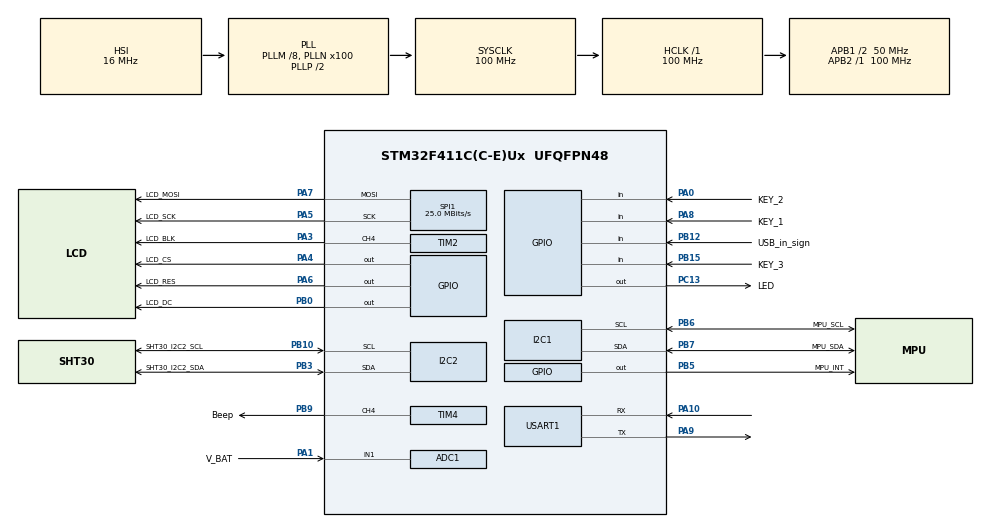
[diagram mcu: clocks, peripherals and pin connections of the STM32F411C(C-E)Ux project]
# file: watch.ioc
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Mcu.Family=STM32F4
RCC.CortexFreq_Value=100000000
SPI1.VirtualType=VM_MASTER
Dma.USART1_TX.1.MemInc=DMA_MINC_ENABLE
PB10.Mode=I2C
VP_RTC_VS_RTC_Activate.Mode=RTC_Enabled
PA6.GPIO_Label=LCD_RES
PB0.GPIO_Label=LCD_DC
PB6.GPIO_Label=MPU_SCL
PB15.Signal=GPIO_Input
RCC.SYSCLKSource=RCC_SYSCLKSOURCE_PLLCLK
ProjectManager.StackSize=0x400
RTC.StoreOperation=RTC_STOREOPERATION_SET
SPI1.CLKPolarity=SPI_POLARITY_HIGH
PH0\ -\ OSC_IN.Signal=RCC_OSC_IN
RCC.RCC_RTC_Clock_Source=RCC_RTCCLKSOURCE_LSE
SPI1.Direction=SPI_DIRECTION_2LINES
RCC.HCLKFreq_Value=100000000
RCC.APB2TimFreq_Value=100000000
PB6.Signal=I2C1_SCL
PB6.Mode=I2C
SPI1.CalculateBaudRate=25.0 MBits/s
RCC.AHBFreq_Value=100000000
Dma.USART1_RX.0.Priority=DMA_PRIORITY_LOW
ADC1.Channel-0\#ChannelRegularConversion=ADC_CHANNEL_1
RCC.HSE_VALUE=25000000
PB3.Mode=I2C
PC13-ANTI_TAMP.Signal=GPIO_Output
PB12.GPIO_Label=USB_in_sign
PC14-OSC32_IN.Mode=LSE-External-Oscillator
PA14.Mode=Serial_Wire
PA5.GPIO_PuPd=GPIO_PULLUP
PB7.Signal=I2C1_SDA
PA8.Signal=GPIO_Input
TIM4.Period=500-1
Dma.USART1_RX.0.MemInc=DMA_MINC_ENABLE
ADC1.SamplingTime-0\#ChannelRegularConversion=ADC_SAMPLETIME_3CYCLES
Dma.USART1_TX.1.PeriphDataAlignment=DMA_PDATAALIGN_BYTE
PB7.GPIO_Label=MPU_SDA
Mcu.Package=UFQFPN48
PB9.Signal=S_TIM4_CH4
TIM2.Prescaler=100-1
PA6.Signal=GPIO_Output
NVIC.DMA2_Stream7_IRQn=true\:0\:0\:false\:false\:true\:false\:true
PB15.GPIO_PuPd=GPIO_PULLUP
RTC.DayLightSaving=RTC_DAYLIGHTSAVING_SUB1H
PA10.Signal=USART1_RX
VP_RTC_VS_RTC_Calendar.Mode=RTC_Calendar
Dma.USART1_RX.0.FIFOMode=DMA_FIFOMODE_DISABLE
SH.ADCx_IN1.0=ADC1_IN1,IN1
PB5.GPIO_Label=MPU_INT
NVIC.DMA2_Stream2_IRQn=true\:0\:0\:false\:false\:true\:false\:true
Dma.Request1=USART1_TX
RCC.APB1TimFreq_Value=100000000
Dma.USART1_RX.0.Mode=DMA_NORMAL
Dma.USART1_TX.1.Priority=DMA_PRIORITY_LOW
NVIC.USART1_IRQn=true\:0\:0\:false\:false\:true\:true\:true
TIM4.Channel-PWM\ Generation4\ CH4=TIM_CHANNEL_4
Dma.Request0=USART1_RX
SPI1.BaudRatePrescaler=SPI_BAUDRATEPRESCALER_4
PA4.GPIO_Label=LCD_CS
Dma.USART1_RX.0.Instance=DMA2_Stream2
PA3.Signal=S_TIM2_CH4
PA5.Mode=TX_Only_Simplex_Unidirect_Master
Dma.USART1_TX.1.Direction=DMA_MEMORY_TO_PERIPH
PB3.GPIO_Label=SHT30_I2C2_SDA
PC15-OSC32_OUT.Mode=LSE-External-Oscillator
Dma.USART1_TX.1.Instance=DMA2_Stream7
TIM2.Channel-PWM\ Generation4\ CH4=TIM_CHANNEL_4
ADC1.Rank-0\#ChannelRegularConversion=1
PA7.Mode=TX_Only_Simplex_Unidirect_Master
Dma.USART1_RX.0.PeriphDataAlignment=DMA_PDATAALIGN_BYTE
PB9.GPIO_Label=Beep
PA10.Mode=Asynchronous
PC13-ANTI_TAMP.GPIO_Label=LED
SH.S_TIM4_CH4.0=TIM4_CH4,PWM Generation4 CH4
PH1\ -\ OSC_OUT.Mode=HSE-External-Oscillator
SPI1.CLKPhase=SPI_PHASE_2EDGE
RCC.APB1CLKDivider=RCC_HCLK_DIV2
PC14-OSC32_IN.Signal=RCC_OSC32_IN
PA0-WKUP.GPIO_Label=KEY_2
PA0-WKUP.Signal=GPIO_Input
PA13.Signal=SYS_JTMS-SWDIO
PA9.Mode=Asynchronous
PH0\ -\ OSC_IN.Mode=HSE-External-Oscillator
PA8.GPIO_Label=KEY_1
ProjectManager.TargetToolchain=MDK-ARM V5
PB10.GPIO_Label=SHT30_I2C2_SCL
RTC.Year=20
I2C1.I2C_Mode=I2C_Fast
Dma.USART1_RX.0.Direction=DMA_PERIPH_TO_MEMORY
PA9.Signal=USART1_TX
RTC.Format=RTC_FORMAT_BIN
Dma.USART1_TX.1.FIFOMode=DMA_FIFOMODE_DISABLE
TIM4.Prescaler=100-1
PC15-OSC32_OUT.Signal=RCC_OSC32_OUT
PA1.Signal=ADCx_IN1
PA7.GPIO_PuPd=GPIO_PULLUP
Dma.USART1_RX.0.PeriphInc=DMA_PINC_DISABLE
PB10.Signal=I2C2_SCL
PA5.Signal=SPI1_SCK
PH1\ -\ OSC_OUT.Signal=RCC_OSC_OUT
Dma.USART1_TX.1.MemDataAlignment=DMA_MDATAALIGN_BYTE
board=custom
RCC.VCOOutputFreq_Value=200000000
RCC.APB2Freq_Value=100000000
PB15.GPIO_Label=KEY_3
SPI1.Mode=SPI_MODE_MASTER
PA1.GPIO_Label=V_BAT
Dma.USART1_RX.0.MemDataAlignment=DMA_MDATAALIGN_BYTE
RCC.RCC_RTC_Clock_SourceVirtual=RCC_RTCCLKSOURCE_LSE
TIM2.Period=500-1
PA13.Mode=Serial_Wire
Mcu.Name=STM32F411C(C-E)Ux
RCC.48MHZClocksFreq_Value=50000000
PB3.Signal=I2C2_SDA
PA4.Signal=GPIO_Output
RCC.SYSCLKFreq_VALUE=100000000
RTC.Hours=12
PB5.Signal=GPIO_Output
PA7.GPIO_Label=LCD_MOSI
ADC1.master=1
PA5.GPIO_Label=LCD_SCK
Dma.USART1_TX.1.Mode=DMA_NORMAL
USART1.VirtualMode=VM_ASYNC
PB7.Mode=I2C
PA14.Signal=SYS_JTCK-SWCLK
ProjectManager.HeapSize=0x200
Dma.USART1_TX.1.PeriphInc=DMA_PINC_DISABLE
SH.S_TIM2_CH4.0=TIM2_CH4,PWM Generation4 CH4
RCC.HSI_VALUE=16000000
PA8.GPIO_PuPd=GPIO_PULLUP
VP_TIM4_VS_ClockSourceINT.Mode=Internal
NVIC.PriorityGroup=NVIC_PRIORITYGROUP_4
ADC1.NbrOfConversionFlag=1
RCC.PLLM=8
RCC.PLLN=100
PA0-WKUP.GPIO_PuPd=GPIO_PULLUP
PB12.GPIO_PuPd=GPIO_PULLUP
RCC.APB1Freq_Value=50000000
PB0.Signal=GPIO_Output
RTC.Date=8
PB12.Signal=GPIO_Input
PA3.GPIO_Label=LCD_BLK
PA7.Signal=SPI1_MOSI

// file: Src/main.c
/* USER CODE BEGIN Header */
/**
  ******************************************************************************
  * @file           : main.c
  * @brief          : Main program body
  ******************************************************************************
  * @attention
  *
  * <h2><center>&copy; Copyright (c) 2020 STMicroelectronics.
  * All rights reserved.</center></h2>
  *
  * This software component is licensed by ST under BSD 3-Clause license,
  * the "License"; You may not use this file except in compliance with the
  * License. You may obtain a copy of the License at:
  *                        opensource.org/licenses/BSD-3-Clause
  *
  ******************************************************************************
  */
/* USER CODE END Header */

#include "main.h"
#include "adc.h"
#include "dma.h"
#include "i2c.h"
#include "rtc.h"
#include "spi.h"
#include "tim.h"
#include "usart.h"
#include "gpio.h"

/* USER CODE BEGIN Includes */
//#include "lcd.h"
//#include "lcd_init.h"
//#include "pic.h"
#include "stdio.h"

//#include "stm32f4xx_hal_flash_ex.h"

#include "inv_mpu.h"
#include "inv_mpu_dmp_motion_driver.h"
#include "mpu6050Driver.h"

#include "sht30_i2c_drv.h"

#include "stdlib.h"
#include <stdlib.h>
#include <string.h>

#include <display.h>
#include <contro.h>

#include <app.h>

//#include "oflash.h"

/* USER CODE END Includes */

/* USER CODE BEGIN PTD */
#ifdef __GNUC__
#define PUTCHAR_PROTOTYPE int __io_putchar(int ch)
#else
#define PUTCHAR_PROTOTYPE int fputc(int ch, FILE *f)
#endif
PUTCHAR_PROTOTYPE
{
    //具体哪个串口可以更改huart1为其它串口
    HAL_UART_Transmit(&huart1 , (uint8_t *)&ch, 1 , 0xffff);
    return ch;
}

//uint8_t aRxBuffer;   //接收中断缓冲
//uint8_t Uart1_RxBuff[256];  //接收缓冲
//uint8_t Uart1_Rx_Cnt = 0;  //接收缓冲计数
//uint8_t cAlmStr[] = "数据溢出(大于256)\r\n";
//uint8_t Reve_Data[256];    //串口接收的数据缓存

uint8_t sign;
/* USER CODE END PTD */

void SystemClock_Config(void);

int main(void)
{
  /* USER CODE BEGIN 1 */
//	float pitch,roll,yaw; 		//欧拉角

	unsigned char switch_value; //获取到的按键值
//	unsigned long	STEPS = 0;

  /* USER CODE END 1 */

  /* MCU Configuration--------------------------------------------------------*/

  /* Reset of all peripherals, Initializes the Flash interface and the Systick. */
  HAL_Init();

  /* Configure the system clock */
  SystemClock_Config();

  /* Initialize all configured peripherals */
  MX_GPIO_Init();
  MX_DMA_Init();
  MX_ADC1_Init();
  MX_I2C1_Init();
  MX_SPI1_Init();
  MX_TIM2_Init();
  MX_TIM4_Init();
  MX_USART1_UART_Init();
  MX_RTC_Init();
  MX_I2C2_Init();
  /* USER CODE BEGIN 2 */

//	HAL_UART_Receive_IT(&huart1, (uint8_t *)&aRxBuffer, 1);	//打开串口接收中断
	/*主显示界面*/
	MENU_init();

	/*调节蜂鸣器*/
	HAL_TIM_PWM_Start(&htim4, TIM_CHANNEL_4); //开启定时器PWM通道 定时器2 通道3
	__HAL_TIM_SET_COMPARE(&htim4, TIM_CHANNEL_4, 0); //设置PWM的占空比，这里初始化占空比为0

	/*调节屏幕背光*/
	HAL_TIM_PWM_Start(&htim2, TIM_CHANNEL_4); //开启定时器PWM通道 定时器2 通道3
	__HAL_TIM_SET_COMPARE(&htim2, TIM_CHANNEL_4, 70); //设置PWM的占空比，调节背光

	MPU_6050_Init();// 可以尝试 直接打开FIFO
	//初始化DMP
	while(mpu_dmp_init())
	{
		printf("MPU6050 is error !!!!!!\r\n");
	}
	printf("go!!!!!!\r\n");

	SHT30_Reset();
	if(SHT30_Init() == HAL_OK)
			printf("sht30 init ok.\r\n");
	else
			printf("sht30 init fail.\r\n");

	HAL_GPIO_WritePin(LED_GPIO_Port, LED_Pin, GPIO_PIN_SET);

	Screen_off_time = sTime.Seconds + 10; //设置自动熄灭屏幕的时间是20秒

	if(	Screen_off_time >	59	) //如果设计的屏幕熄灭实践超过了一分钟就倒退回去
	{
		Screen_off_time = Screen_off_time -60; //得到正确的时间
	}

	usart_print_flag = 0;
  /* USER CODE END 2 */

  /* Infinite loop */
	while (1)
  {
		//传感器检测
		Get_Sensor_data();

		/*主界面显示部分*/
		MENU_main();

		/*根据按键方向按键按下来进入应用界面*/
		MENU_APP(switch_value);

		/*处理后台运行的程序*/
		Background_detection(switch_value);

		/*检测按键以及处理自动熄屏和唤醒屏幕*/
		switch_value = Get_Key_value(1);

		if(	switch_value == 2)
		{
			/*熄灭屏幕*/
			__HAL_TIM_SET_COMPARE(&htim2, TIM_CHANNEL_4, 0); //设置PWM的占空比，调节背光

			set_Screen_off_flag = 0; //代表已经熄灭了屏幕 熄灭屏幕的状态下不对按键等操作进行反应
		}

//		/*陀螺仪获取角度部分*/
//		if(	mpu_dmp_get_data(	&pitch,	&roll,	&yaw	)	==	0	)
//		{
//			if(usart_print_flag)
//			{
//				printf("%.2f %.2f %.2f \r\n",pitch,roll,yaw);
//			}
//		}

//		if(usart_print_flag)
//		{
//			printf("温度:%.1f 湿度:%.1f 电量百分比:%d	按键值:%d  日期:%d:%d:%d   时间:%d:%d:%d \r\n",
//								temperature,humidity,	Battery_voltage	,
//								switch_value,
//								sDate.Year,	sDate.Month,	sDate.Date,
//								sTime.Hours, sTime.Minutes, sTime.Seconds);
//		}

  }
}

void SystemClock_Config(void)
{
  RCC_OscInitTypeDef RCC_OscInitStruct = {0};
  RCC_ClkInitTypeDef RCC_ClkInitStruct = {0};
  RCC_PeriphCLKInitTypeDef PeriphClkInitStruct = {0};

  /** Configure the main internal regulator output voltage
  */
  __HAL_RCC_PWR_CLK_ENABLE();
  __HAL_PWR_VOLTAGESCALING_CONFIG(PWR_REGULATOR_VOLTAGE_SCALE1);
  /** Initializes the CPU, AHB and APB busses clocks
  */
  RCC_OscInitStruct.OscillatorType = RCC_OSCILLATORTYPE_HSI|RCC_OSCILLATORTYPE_LSE;
  RCC_OscInitStruct.LSEState = RCC_LSE_ON;
  RCC_OscInitStruct.HSIState = RCC_HSI_ON;
  RCC_OscInitStruct.HSICalibrationValue = RCC_HSICALIBRATION_DEFAULT;
  RCC_OscInitStruct.PLL.PLLState = RCC_PLL_ON;
  RCC_OscInitStruct.PLL.PLLSource = RCC_PLLSOURCE_HSI;
  RCC_OscInitStruct.PLL.PLLM = 8;
  RCC_OscInitStruct.PLL.PLLN = 100;
  RCC_OscInitStruct.PLL.PLLP = RCC_PLLP_DIV2;
  RCC_OscInitStruct.PLL.PLLQ = 4;
  if (HAL_RCC_OscConfig(&RCC_OscInitStruct) != HAL_OK)
  {
    Error_Handler();
  }
  /** Initializes the CPU, AHB and APB busses clocks
  */
  RCC_ClkInitStruct.ClockType = RCC_CLOCKTYPE_HCLK|RCC_CLOCKTYPE_SYSCLK
                              |RCC_CLOCKTYPE_PCLK1|RCC_CLOCKTYPE_PCLK2;
  RCC_ClkInitStruct.SYSCLKSource = RCC_SYSCLKSOURCE_PLLCLK;
  RCC_ClkInitStruct.AHBCLKDivider = RCC_SYSCLK_DIV1;
  RCC_ClkInitStruct.APB1CLKDivider = RCC_HCLK_DIV2;
  RCC_ClkInitStruct.APB2CLKDivider = RCC_HCLK_DIV1;

  if (HAL_RCC_ClockConfig(&RCC_ClkInitStruct, FLASH_LATENCY_3) != HAL_OK)
  {
    Error_Handler();
  }
  PeriphClkInitStruct.PeriphClockSelection = RCC_PERIPHCLK_RTC;
  PeriphClkInitStruct.RTCClockSelection = RCC_RTCCLKSOURCE_LSE;
  if (HAL_RCCEx_PeriphCLKConfig(&PeriphClkInitStruct) != HAL_OK)
  {
    Error_Handler();
  }
}

/* USER CODE BEGIN 4 */
/* USER CODE BEGIN 4 */
//void HAL_UART_RxCpltCallback(UART_HandleTypeDef *huart)
//{
//  /* Prevent unused argument(s) compilation warning */
//	int i;
//  UNUSED(huart);
//  /* NOTE: This function Should not be modified, when the callback is needed,
//           the HAL_UART_TxCpltCallback could be implemented in the user file
//   */
// if(Uart1_Rx_Cnt >= 255)  //溢出判断
// {
//  Uart1_Rx_Cnt = 0;
//  memset(Uart1_RxBuff,0x00,sizeof(Uart1_RxBuff));
//  HAL_UART_Transmit(&huart1, (uint8_t *)&cAlmStr, sizeof(cAlmStr),0xFFFF);
// }
// else
// {
//  Uart1_RxBuff[Uart1_Rx_Cnt++] = aRxBuffer;   //接收数据转存
//  if((Uart1_RxBuff[Uart1_Rx_Cnt-1] == 0x0A)&&(Uart1_RxBuff[Uart1_Rx_Cnt-2] == 0x0D)) //判断结束位
//  {
//		for (i=0; i<sizeof(Uart1_RxBuff)-1; i++)
//		{
//			Reve_Data[i] = Uart1_RxBuff[i];
//		}
//		HAL_UART_Transmit(&huart1, (uint8_t *)&Uart1_RxBuff, Uart1_Rx_Cnt,0xFFFF); //将收到的信息发送出去
//   Uart1_Rx_Cnt = 0;
//   memset(Uart1_RxBuff,0x00,sizeof(Uart1_RxBuff)); //清空数组
//  }
// }
// HAL_UART_Receive_IT(&huart1, (uint8_t *)&aRxBuffer, 1);   //再开启接收中断
//}
/* USER CODE END 4 */

void Error_Handler(void)
{
}

/************************ (C) COPYRIGHT STMicroelectronics *****END OF FILE****/
